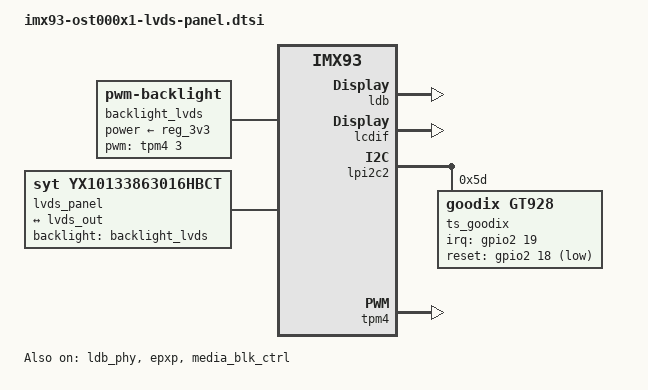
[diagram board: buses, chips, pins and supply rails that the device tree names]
// SPDX-License-Identifier: (GPL-2.0+ OR MIT)
/*
 * Copyright 2022 NXP
 */

#include <dt-bindings/pwm/pwm.h>

/ {
	backlight_lvds: backlight_lvds {
		compatible = "pwm-backlight";
		pwms = <&tpm4 3 100000 0>;
		pinctrl-names = "default";
		power-supply = <&reg_3v3>;
		status = "okay";

		brightness-levels = < 0  1  2  3  4  5  6  7  8  9
					10 11 12 13 14 15 16 17 18 19
				    20 21 22 23 24 25 26 27 28 29
				    30 31 32 33 34 35 36 37 38 39
				    40 41 42 43 44 45 46 47 48 49
				    50 51 52 53 54 55 56 57 58 59
				    60 61 62 63 64 65 66 67 68 69
				    70 71 72 73 74 75 76 77 78 79
				    80 81 82 83 84 85 86 87 88 89
				    90 91 92 93 94 95 96 97 98 99
				    100	>;
		default-brightness-level = <50>;
	};

	lvds_panel {
		compatible = "syt,yx10133863016hbct";
		backlight = <&backlight_lvds>;

		port {
			panel_lvds_in: endpoint {
				remote-endpoint = <&lvds_out>;
			};
		};
	};
};

/*=====================================================*/
//=== LBD
/*=====================================================*/
&ldb {
	status = "okay";

	lvds-channel@0 {
		status = "okay";

		port@1 {
			reg = <1>;

			lvds_out: endpoint {
				remote-endpoint = <&panel_lvds_in>;
			};
		};
	};
};

&ldb_phy {
	status = "okay";
};

/*=====================================================*/
//=== EPXP
/*=====================================================*/
&epxp {
	status = "okay";
};

/*=====================================================*/
//=== MEDIA BLK CTRL
/*=====================================================*/
&media_blk_ctrl {
	status = "okay";
};

/*=====================================================*/
//=== LCDIF
/*=====================================================*/
&lcdif {
	status = "okay";
	assigned-clock-rates = <393216000>, <56173714>, <400000000>, <133333333>;
};

/*=====================================================*/
/*=== I2C                                              */
/*=====================================================*/
&lpi2c2 {
	status = "okay";

	ts_goodix: touchscreen@5d {
		compatible = "goodix,gt928";
		pinctrl-names = "default";
		pinctrl-0 = <&pinctrl_lcd_int>, <&pinctrl_lcd_res>;
		interrupts-extended = <&gpio2 19 IRQ_TYPE_LEVEL_HIGH>;
		irq-gpios = <&gpio2 19 GPIO_ACTIVE_HIGH>;
		reset-gpios = <&gpio2 18 GPIO_ACTIVE_LOW>;
		touchscreen-size-x = <1024>;
        touchscreen-size-y = <600>;
		reg = <0x5d>;
	};
};

/*=====================================================*/
/*=== PWM4                                             */
/*=====================================================*/
&tpm4 {
	status = "okay";
};




/*=====================================================*/
/*=== PINMUX                                           */
/*=====================================================*/
&iomuxc {
	pinctrl-names = "default";
	
	pinctrl_lcd_int: lcd_intgrp {
		fsl,pins = <
			MX93_PAD_GPIO_IO19__GPIO2_IO19								0x31e
		>;
	};

	pinctrl_lcd_res: lcd_resgrp {
		fsl,pins = <
			MX93_PAD_GPIO_IO18__GPIO2_IO18								0x31e
		>;
	};

};
